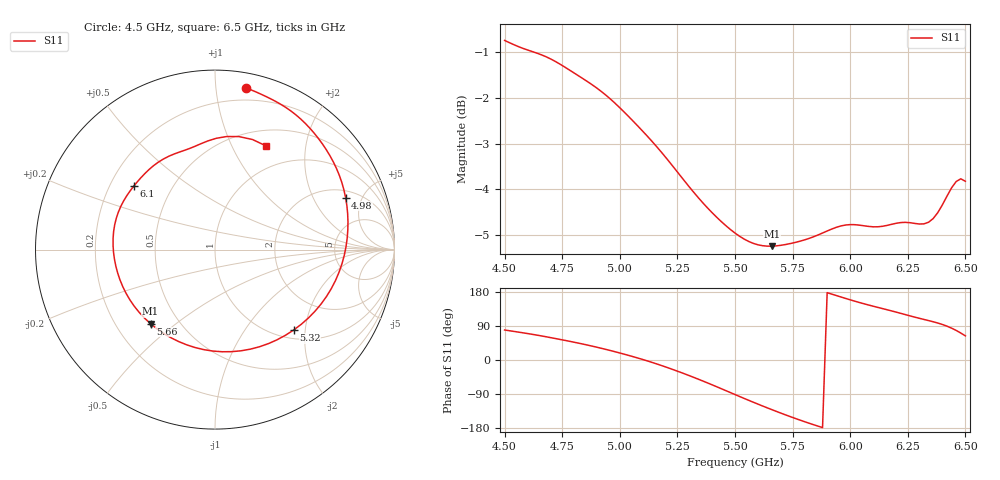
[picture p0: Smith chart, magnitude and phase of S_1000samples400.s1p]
! TOUCHSTONE file generated by CST MICROWAVE STUDIO
! Date and time: Fri Oct 28 01:10:23 2022
! Project name: L.cst
! Parameters = {Di=1.27; Epsilon_r=1.56; InnerDiameter=1.27; Length=2; Lf=10; Lg=60; OuterConductorThickness=0.2921; OuterDiameter=3.6; Wf=3; Wp=41.2; de=1.5; df=6.8; g=0.8; gx=4.10134; gy=2.05141; h=2.34; hf=1.524; px=12.9881; py=12.3906; w=9.7; wx=8.88675; wy=10.3392}
! Header version: 2018
! Port assignment regex: !\s*Touchstone port\s*([0-9]+)\s*=\s*(CST MWS port|CST DS port)\s*([0-9]+|Zmin|Zmax)\s*\(\"(.*)\"\)(\s*mode\s*([0-9]+))?.*
! Touchstone port assignment:
! Touchstone port 1 = CST MWS port 1 ("")
# GHz S DB R 50
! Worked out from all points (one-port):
!   101 points, 4.5 GHz to 6.5 GHz, reference 50 ohm
!   lowest |S11| = -5.2 dB at 5.66 GHz (marker M1), VSWR 3.42, Z = 17.4 - j20.5 ohm
!   |S11| at or under -10 dB: nowhere
!   S11 on the Smith chart (normalised r, x): 4.5 GHz: 0.11, +1.20; 4.98 GHz: 2.45, +3.67; 5.32 GHz: 1.18, -1.74; 5.66 GHz: 0.35, -0.41; 6.1 GHz: 0.30, +0.32; 6.5 GHz: 0.70, +1.37
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4.5  -0.75 79.2
4.64  -1.03 65.7
4.76  -1.33 52.0
4.88  -1.72 36.6
4.98  -2.12 21.7
5  -2.22 18.5
5.08  -2.63 4.9
5.14  -2.95 -6.4
5.2  -3.31 -18.6
5.26  -3.68 -31.7
5.32  -4.06 -45.6
5.38  -4.40 -60.3
5.42  -4.60 -70.4
5.5  -4.95 -91.2
5.58  -5.18 -111.5
5.66  -5.24 -131.0
5.76  -5.16 -153.8
5.82  -5.07 -166.5
5.88  -4.95 -178.4
5.94  -4.83 170.0
6  -4.77 158.8
6.1  -4.82 141.9
6.18  -4.76 129.5
6.26  -4.73 116.4
6.34  -4.72 104.0
6.4  -4.34 93.7
6.46  -3.83 78.0
6.5  -3.82 63.6
